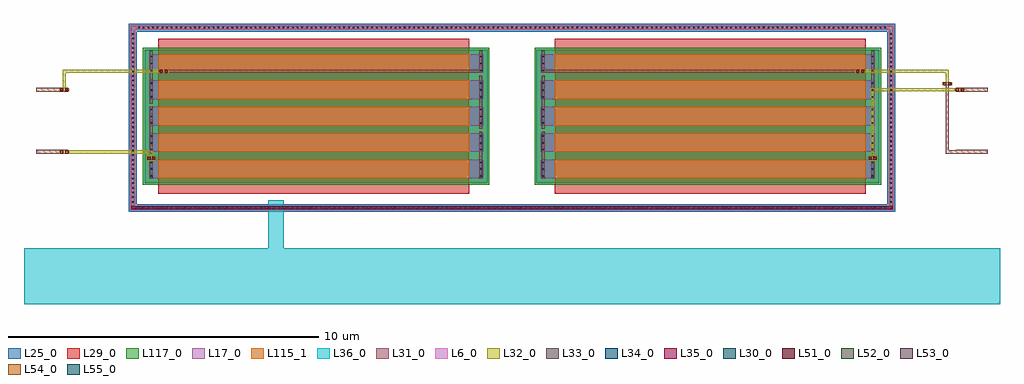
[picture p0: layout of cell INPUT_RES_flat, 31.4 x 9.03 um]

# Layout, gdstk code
import gdstk
lib = gdstk.Library(unit=1e-6, precision=1e-09)
def R(c, l, rs):  # rectangles x0, y0, x1, y1
    for r in rs: c.add(gdstk.rectangle(r[:2], r[2:], *l))
def A(c, l, x, y, w, h, nx, ny, dx, dy):  # array of equal rectangles
    R(c, l, [(x+i*dx, y+j*dy, x+i*dx+w, y+j*dy+h) for i in range(nx) for j in range(ny)])
L6_0 = (6, 0)
L17_0 = (17, 0)
L25_0 = (25, 0)
L29_0 = (29, 0)
L30_0 = (30, 0)
L31_0 = (31, 0)
L32_0 = (32, 0)
L33_0 = (33, 0)
L34_0 = (34, 0)
L35_0 = (35, 0)
L36_0 = (36, 0)
L51_0 = (51, 0)
L52_0 = (52, 0)
L53_0 = (53, 0)
L54_0 = (54, 0)
L55_0 = (55, 0)
L115_1 = (115, 1)
L117_0 = (117, 0)

input_res_flat = lib.new_cell('INPUT_RES_flat')
R(input_res_flat, L6_0, [(2.525,-1.075,2.675,-0.925), (2.675,-1.075,26.925,-0.925), (26.925,-1.075,27.075,-0.925), (2.525,-0.925,2.675,4.725), (26.925,-0.925,27.075,4.725), (2.525,4.725,2.675,4.875), (2.675,4.725,26.925,4.875), (26.925,4.725,27.075,4.875)])
A(input_res_flat, L17_0, 3.125, -0.05, 10.75, 0.6, 1, 5, 0, 0.85)
A(input_res_flat, L17_0, 15.725, -0.05, 10.75, 0.6, 1, 5, 0, 0.85)
R(input_res_flat, L25_0, [(2.475,-1.125,2.725,-0.875), (2.675,-1.125,26.925,-0.875), (26.875,-1.125,27.125,-0.875), (2.475,-0.925,2.725,4.725), (26.875,-0.925,27.125,4.725), (2.985,-0.19,14.015,4.09), (15.585,-0.19,26.615,4.09), (2.475,4.675,2.725,4.925), (2.675,4.675,26.925,4.925), (26.875,4.675,27.125,4.925)])
R(input_res_flat, L29_0, [(3.425,-0.55,13.425,4.45), (16.175,-0.55,26.175,4.45)])
A(input_res_flat, L30_0, 2.775, -1.025, 0.05, 0.05, 161, 2, 0.15, 5.8)
A(input_res_flat, L30_0, 2.575, -0.83, 0.05, 0.05, 1, 37, 0, 0.15)
A(input_res_flat, L30_0, 26.975, -0.83, 0.05, 0.05, 1, 37, 0, 0.15)
A(input_res_flat, L30_0, 3.175, 0, 0.05, 0.05, 1, 3, 0, 0.22)
A(input_res_flat, L30_0, 13.775, 0, 0.05, 0.05, 1, 3, 0, 0.22)
A(input_res_flat, L30_0, 15.775, 0, 0.05, 0.05, 1, 3, 0, 0.22)
A(input_res_flat, L30_0, 26.375, 0, 0.05, 0.05, 1, 3, 0, 0.22)
A(input_res_flat, L30_0, 3.175, 0.85, 0.05, 0.05, 1, 3, 0, 0.22)
A(input_res_flat, L30_0, 13.775, 0.85, 0.05, 0.05, 1, 3, 0, 0.22)
A(input_res_flat, L30_0, 15.775, 0.85, 0.05, 0.05, 1, 3, 0, 0.22)
A(input_res_flat, L30_0, 26.375, 0.85, 0.05, 0.05, 1, 3, 0, 0.22)
A(input_res_flat, L30_0, 3.175, 1.7, 0.05, 0.05, 1, 3, 0, 0.22)
A(input_res_flat, L30_0, 13.775, 1.7, 0.05, 0.05, 1, 3, 0, 0.22)
A(input_res_flat, L30_0, 15.775, 1.7, 0.05, 0.05, 1, 3, 0, 0.22)
A(input_res_flat, L30_0, 26.375, 1.7, 0.05, 0.05, 1, 3, 0, 0.22)
A(input_res_flat, L30_0, 3.175, 2.55, 0.05, 0.05, 1, 3, 0, 0.22)
A(input_res_flat, L30_0, 13.775, 2.55, 0.05, 0.05, 1, 3, 0, 0.22)
A(input_res_flat, L30_0, 15.775, 2.55, 0.05, 0.05, 1, 3, 0, 0.22)
A(input_res_flat, L30_0, 26.375, 2.55, 0.05, 0.05, 1, 3, 0, 0.22)
A(input_res_flat, L30_0, 3.175, 3.4, 0.05, 0.05, 1, 3, 0, 0.22)
A(input_res_flat, L30_0, 13.775, 3.4, 0.05, 0.05, 1, 3, 0, 0.22)
A(input_res_flat, L30_0, 15.775, 3.4, 0.05, 0.05, 1, 3, 0, 0.22)
A(input_res_flat, L30_0, 26.375, 3.4, 0.05, 0.05, 1, 3, 0, 0.22)
R(input_res_flat, L31_0, [(2.55,-1.05,2.65,-0.95), (2.65,-1.05,2.675,-0.95), (2.675,-1.05,26.925,-0.95), (26.925,-1.05,26.95,-0.95), (26.95,-1.05,27.05,-0.95), (2.55,-0.95,2.65,-0.925), (26.95,-0.95,27.05,-0.925), (2.55,-0.925,2.65,4.725), (26.95,-0.925,27.05,4.725), (3.15,-0.05,3.25,0.65), (3.15,-0.05,3.25,0.55), (3.15,-0.05,3.25,0.55), (13.75,-0.05,13.85,1.45), (13.75,-0.05,13.85,0.55), (13.75,-0.05,13.85,0.55), (15.75,-0.05,15.85,1.45), (15.75,-0.05,15.85,0.55), (15.75,-0.05,15.85,0.55), (26.35,-0.05,26.45,0.65), (26.35,-0.05,26.45,0.55), (26.35,-0.05,26.45,0.55), (3.04,0.52,3.36,0.68), (26.24,0.52,26.56,0.68), (-0.5,0.735,0.5,0.865), (29.1,0.735,30.1,0.865), (0.24,0.75,0.56,0.85), (3.15,0.75,3.25,2.25), (26.35,0.75,26.45,2.25), (28.75,0.75,28.85,3.05), (28.75,0.75,29.25,0.85), (3.15,0.8,3.25,1.4), (3.15,0.8,3.25,1.4), (13.75,0.8,13.85,1.4), (13.75,0.8,13.85,1.4), (15.75,0.8,15.85,1.4), (15.75,0.8,15.85,1.4), (26.35,0.8,26.45,1.4), (26.35,0.8,26.45,1.4), (13.75,1.55,13.85,3.25), (15.75,1.55,15.85,3.25), (3.15,1.65,3.25,2.25), (3.15,1.65,3.25,2.25), (13.75,1.65,13.85,2.25), (13.75,1.65,13.85,2.25), (15.75,1.65,15.85,2.25), (15.75,1.65,15.85,2.25), (26.35,1.65,26.45,2.25), (26.35,1.65,26.45,2.25), (3.15,2.35,3.25,4.05), (26.35,2.35,26.45,4.05), (3.15,2.5,3.25,3.1), (3.15,2.5,3.25,3.1), (13.75,2.5,13.85,3.1), (13.75,2.5,13.85,3.1), (15.75,2.5,15.85,3.1), (15.75,2.5,15.85,3.1), (26.35,2.5,26.45,3.1), (26.35,2.5,26.45,3.1), (-0.5,2.735,0.5,2.865), (29.1,2.735,30.1,2.865), (0.24,2.75,0.56,2.85), (29.04,2.75,29.36,2.85), (28.64,2.95,28.96,3.05), (3.15,3.35,3.25,3.95), (3.15,3.35,3.25,3.95), (3.44,3.35,3.76,3.45), (3.55,3.35,13.85,3.45), (13.75,3.35,13.85,4.05), (13.75,3.35,13.85,3.95), (13.75,3.35,13.85,3.95), (15.75,3.35,15.85,4.05), (15.75,3.35,15.85,3.95), (15.75,3.35,15.85,3.95), (15.75,3.35,26.05,3.45), (25.84,3.35,26.16,3.45), (26.35,3.35,26.45,3.95), (26.35,3.35,26.45,3.95), (2.55,4.725,2.65,4.75), (26.95,4.725,27.05,4.75), (2.55,4.75,2.65,4.85), (2.65,4.75,2.675,4.85), (2.675,4.75,26.925,4.85), (26.925,4.75,26.95,4.85), (26.95,4.75,27.05,4.85)])
R(input_res_flat, L32_0, [(2.55,-1.05,2.65,-0.95), (2.65,-1.05,2.675,-0.95), (2.675,-1.05,26.925,-0.95), (26.925,-1.05,26.95,-0.95), (26.95,-1.05,27.05,-0.95), (2.55,-0.95,2.65,-0.925), (26.95,-0.95,27.05,-0.925), (3.04,0.52,3.36,0.68), (26.24,0.52,26.56,0.68), (3.15,0.55,3.25,0.85), (26.35,0.55,26.45,2.85), (0.24,0.75,0.56,0.85), (0.35,0.75,3.25,0.85), (0.24,2.75,0.56,2.85), (0.35,2.75,0.45,3.45), (26.35,2.75,29.25,2.85), (29.04,2.75,29.36,2.85), (28.64,2.95,28.96,3.05), (28.75,2.95,28.85,3.45), (0.35,3.35,3.65,3.45), (3.44,3.35,3.76,3.45), (25.84,3.35,26.16,3.45), (25.95,3.35,28.85,3.45)])
R(input_res_flat, L33_0, [(2.55,-1.05,2.65,-0.95), (2.65,-1.05,2.675,-0.95), (2.675,-1.05,26.925,-0.95), (26.925,-1.05,26.95,-0.95), (26.95,-1.05,27.05,-0.95), (2.55,-0.95,2.65,-0.925), (26.95,-0.95,27.05,-0.925)])
R(input_res_flat, L34_0, [(2.55,-1.05,2.65,-0.95), (2.65,-1.05,2.675,-0.95), (2.675,-1.05,26.925,-0.95), (26.925,-1.05,26.95,-0.95), (26.95,-1.05,27.05,-0.95), (2.55,-0.95,2.65,-0.925), (26.95,-0.95,27.05,-0.925)])
R(input_res_flat, L35_0, [(2.55,-1.05,2.65,-0.95), (2.65,-1.05,2.675,-0.95), (2.675,-1.05,26.925,-0.95), (26.925,-1.05,26.95,-0.95), (26.95,-1.05,27.05,-0.95), (2.55,-0.95,2.65,-0.925), (26.95,-0.95,27.05,-0.925)])
R(input_res_flat, L36_0, [(-0.9,-4.1,30.5,-2.3), (6.95,-2.65,7.45,-0.75), (2.55,-1.05,2.65,-0.95), (2.65,-1.05,2.675,-0.95), (2.675,-1.05,26.925,-0.95), (26.925,-1.05,26.95,-0.95), (26.95,-1.05,27.05,-0.95), (2.55,-0.95,2.65,-0.925), (26.95,-0.95,27.05,-0.925)])
A(input_res_flat, L51_0, 2.775, -1.025, 0.05, 0.05, 161, 1, 0.15, 0)
R(input_res_flat, L51_0, [(3.07,0.55,3.17,0.65), (3.23,0.55,3.33,0.65), (26.27,0.55,26.37,0.65), (26.43,0.55,26.53,0.65), (0.27,0.75,0.37,0.85), (0.43,0.75,0.53,0.85), (0.27,2.75,0.37,2.85), (0.43,2.75,0.53,2.85), (29.07,2.75,29.17,2.85), (29.23,2.75,29.33,2.85), (28.67,2.95,28.77,3.05), (28.83,2.95,28.93,3.05), (3.47,3.35,3.57,3.45), (3.63,3.35,3.73,3.45), (25.87,3.35,25.97,3.45), (26.03,3.35,26.13,3.45)])
A(input_res_flat, L52_0, 2.775, -1.025, 0.05, 0.05, 161, 1, 0.15, 0)
A(input_res_flat, L53_0, 2.775, -1.025, 0.05, 0.05, 161, 1, 0.15, 0)
A(input_res_flat, L54_0, 2.775, -1.025, 0.05, 0.05, 161, 1, 0.15, 0)
A(input_res_flat, L55_0, 2.775, -1.025, 0.05, 0.05, 161, 1, 0.15, 0)
A(input_res_flat, L115_1, 3.425, -0.05, 10, 0.6, 1, 5, 0, 0.85)
A(input_res_flat, L115_1, 16.175, -0.05, 10, 0.6, 1, 5, 0, 0.85)
R(input_res_flat, L117_0, [(2.925,-0.25,14.075,4.15), (15.525,-0.25,26.675,4.15)])

lib.write_gds('INPUT_RES_flat.gds')
